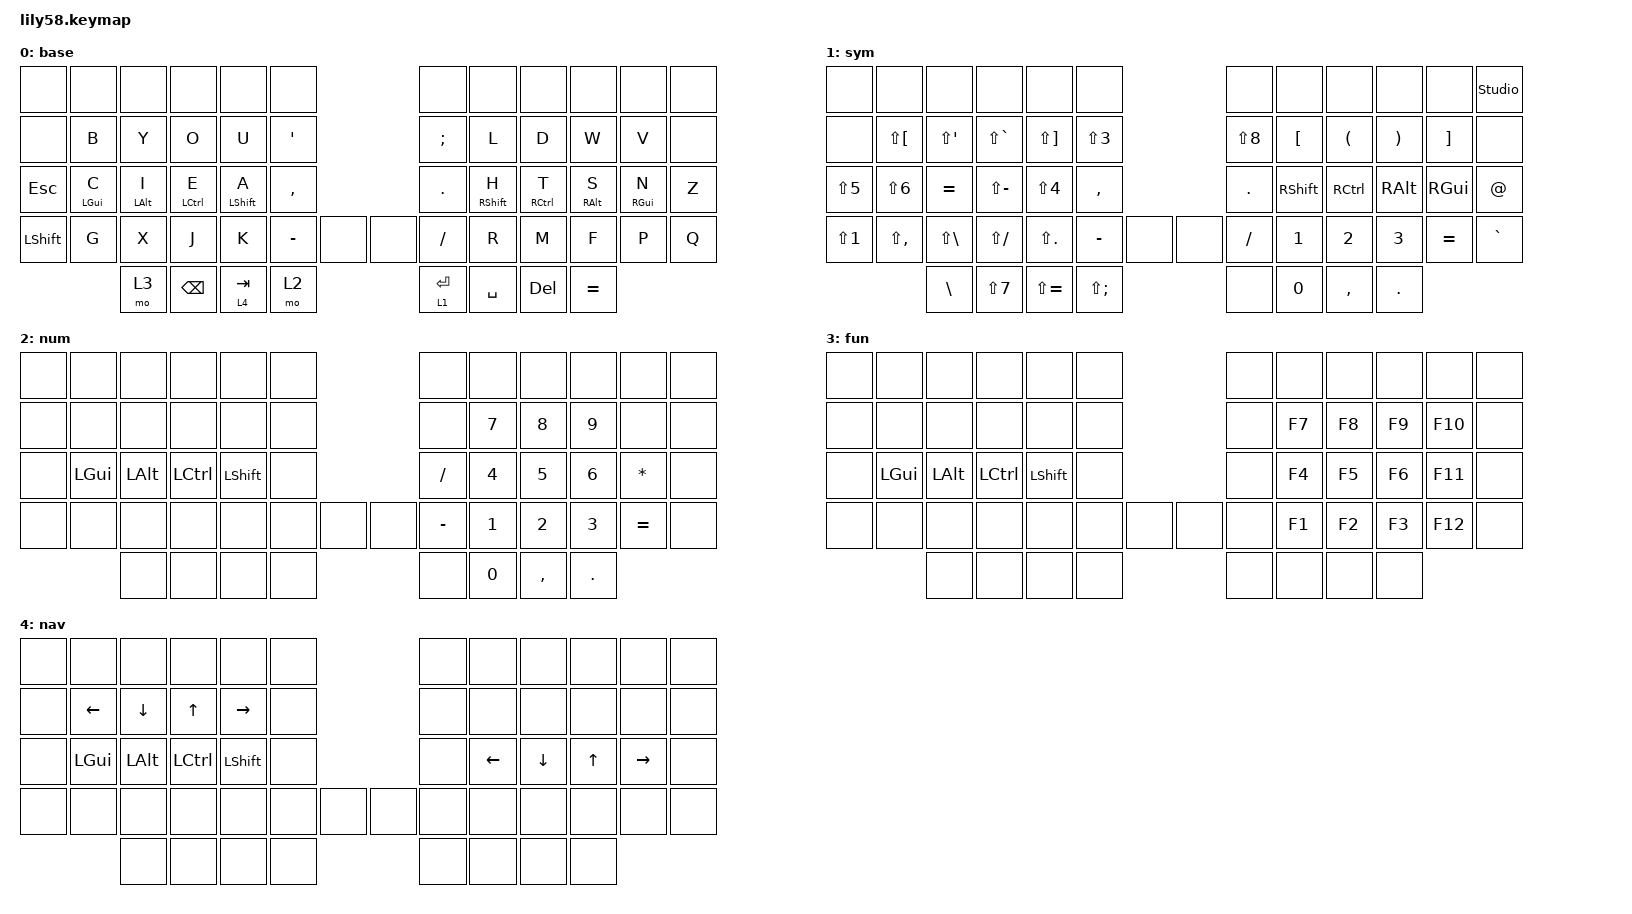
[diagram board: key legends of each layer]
/*
 * Copyright (c) 2020 The ZMK Contributors
 *
 * SPDX-License-Identifier: MIT
 */

#include <behaviors.dtsi>
#include <dt-bindings/zmk/keys.h>
#include <dt-bindings/zmk/bt.h>
#include <dt-bindings/zmk/ext_power.h>

/ {
    behaviors {
        rpi: require_prior_idle {
            compatible = "zmk,behavior-hold-tap";
            #binding-cells = <2>;
            flavor = "balanced";
            tapping-term-ms = <300>;
            quick-tap-ms = <200>;
            require-prior-idle-ms = <200>;
            bindings = <&kp>, <&kp>;
        };
    };
    keymap {
        compatible = "zmk,keymap";

        base {
            bindings = <
                &none       &none       &none       &none        &none        &none                               &none        &none        &none        &none       &none       &none
                &none       &kp B       &kp Y       &kp O        &kp U        &kp APOS                            &kp SEMI     &kp L        &kp D        &kp W       &kp V       &none
                &kp ESC     &rpi LGUI C &rpi LALT I &rpi LCTRL E &rpi LSHFT A &kp COMMA                           &kp DOT      &rpi RSHFT H &rpi RCTRL T &rpi RALT S &rpi RGUI N &kp Z
                &kp LSHFT   &kp G       &kp X       &kp J        &kp K        &kp MINUS    &none        &none     &kp FSLH     &kp R        &kp M        &kp F       &kp P       &kp Q
                                        &mo 3       &kp BSPC     &lt 4 TAB    &mo 2                               &lt 1 ENTER  &kp SPC      &kp DEL      &kp EQUAL
            >;
        };

        sym {
            bindings = <
                &none       &none         &none        &none         &none         &none                               &none        &none        &none        &none       &none       &studio_unlock
                &none       &kp LS(LBKT)  &kp LS(APOS) &kp LS(GRAVE) &kp LS(RBKT)  &kp LS(N3)                          &kp LS(N8)   &kp LBKT     &kp LPAR     &kp RPAR    &kp RBKT    &none
                &kp LS(N5)  &kp LS(N6)    &kp EQUAL    &kp LS(MINUS) &kp LS(N4)    &kp COMMA                           &kp DOT      &kp RSHFT    &kp RCTRL    &kp RALT    &kp RGUI    &kp AT
                &kp LS(N1)  &kp LS(COMMA) &kp LS(BSLH) &kp LS(FSLH)  &kp LS(DOT)   &kp MINUS    &none        &none     &kp FSLH     &kp N1       &kp N2       &kp N3      &kp EQUAL   &kp GRAVE
                                          &kp BSLH     &kp LS(N7)    &kp LS(EQUAL) &kp LS(SEMI)                        &none        &kp N0       &kp COMMA    &kp DOT
            >;
        };

        num {
            bindings = <
                &none       &none       &none       &none        &none        &none                               &none        &none        &none        &none       &none       &none
                &none       &none       &none       &none        &none        &none                               &none        &kp N7       &kp N8       &kp N9      &none       &none
                &none       &kp LGUI    &kp LALT    &kp LCTRL    &kp LSHFT    &none                               &kp SLASH    &kp N4       &kp N5       &kp N6      &kp STAR    &none
                &none       &none       &none       &none        &none        &none        &none        &none     &kp MINUS    &kp N1       &kp N2       &kp N3      &kp EQUAL   &none
                                        &none       &none        &none        &none                               &none        &kp N0       &kp COMMA    &kp DOT
            >;
        };

        fun {
            bindings = <
                &none       &none       &none       &none        &none        &none                               &none        &none        &none        &none       &none       &none
                &none       &none       &none       &none        &none        &none                               &none        &kp F7       &kp F8       &kp F9      &kp F10     &none
                &none       &kp LGUI    &kp LALT    &kp LCTRL    &kp LSHFT    &none                               &none        &kp F4       &kp F5       &kp F6      &kp F11     &none
                &none       &none       &none       &none        &none        &none        &none        &none     &none        &kp F1       &kp F2       &kp F3      &kp F12     &none
                                        &none       &none        &none        &none                               &none        &none        &none        &none
            >;
        };

        nav {
            bindings = <
                &none       &none       &none       &none        &none        &none                               &none        &none        &none        &none       &none       &none
                &none       &kp LEFT    &kp DOWN    &kp UP       &kp RIGHT    &none                               &none        &none        &none        &none       &none       &none
                &none       &kp LGUI    &kp LALT    &kp LCTRL    &kp LSHFT    &none                               &none        &kp LEFT     &kp DOWN     &kp UP      &kp RIGHT   &none
                &none       &none       &none       &none        &none        &none        &none        &none     &none        &none        &none        &none       &none       &none
                                        &none       &none        &none        &none                               &none        &none        &none        &none
            >;
        };
    };
};
